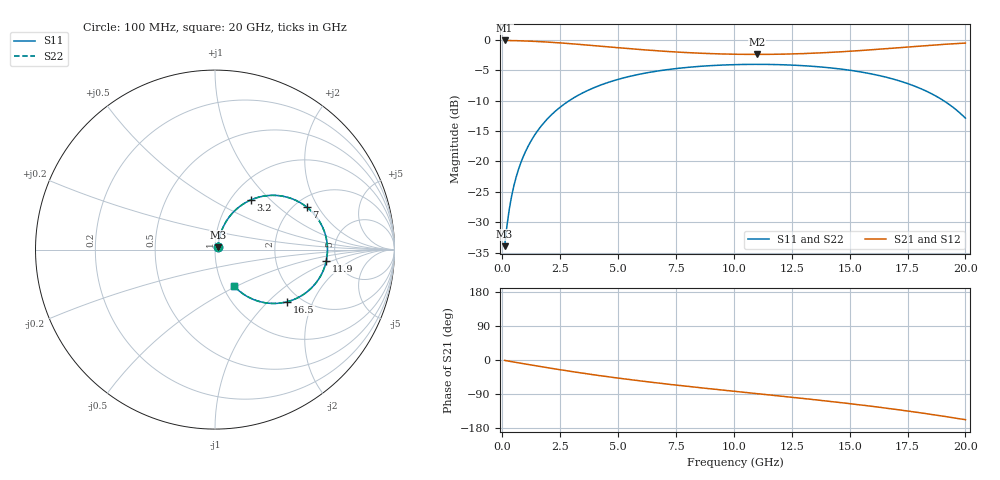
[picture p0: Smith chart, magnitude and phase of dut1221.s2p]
! Touchstone file exported from HFSS 2026.1.0
!  File:  C:/ffzhzh/LocalFiles/Ansys_Project_Files/temp_train_TSV_RDL_1221_1783321099_38704.aedt
!  Generated:  03:07:11 PM Jul  6, 2026
!  Design:  TSV_RDL
!  Project:  temp_train_TSV_RDL_1221_1783321099_38704
! Variables:
!  h_bsmrdl = 4.53um
!  h_ox = 20um
!  h_rdl = 5um
!  h_sub = 67.67um
!  h_tmrdl = 5.76um
!  h_tsv = 67.67um
!  h_via = 3um
!  l_bsmrdl = 494.15um
!  l_sub = 2709.7um
!  l_tmrdl = 189.18um
!  m_sub = 200um
!  pitch = 49.38um
!  r_tsv = 9.69um
!  s_tmrdl = 10um
!  w_bsmrdl = 10.3um
!  w_sub = 500um
!  w_tmrdl = 13.21um
!  x_tsv_center1 = 195.785um
!  x_tsv_center2 = 700.235um
!  x_tsv_center3 = 902.625um
!  x_tsv_center4 = 1407.075um
!  x_tsv_center5 = 1609.465um
!  x_tsv_center6 = 2113.915um
# GHz S MA R 50.000000
! Terminal data exported
! Port[1] = TM_RDL1_1_T1
! Port[2] = TM_RDL5_1_T1
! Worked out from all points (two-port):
!   200 points, 100 MHz to 20 GHz, reference 50 ohm
!   highest |S21| = -0.14 dB at 100 MHz (marker M1); lowest = -2.4 dB at 11 GHz (marker M2)
!   |S21| within 3 dB of the highest: start of sweep to end of sweep
!   lowest |S11| = -33.9 dB at 100 MHz (marker M3), VSWR 1.04, Z = 51.6 + j1.25 ohm
!   |S11| at or under -10 dB: start of sweep to 2.899 GHz; 19.05 GHz to end of sweep
!   |S22| runs from -33.9 to -4.1 dB; largest |S21 - S12| = 7.2e-14
!   S11 on the Smith chart (normalised r, x): 100 MHz: 1.03, +0.02; 3.2 GHz: 1.23, +0.78; 7 GHz: 2.30, +1.60; 11.9 GHz: 4.14, -0.83; 16.5 GHz: 1.70, -1.31; 20 GHz: 1.13, -0.48
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0.1  0.0202 36.8  0.984 -1.1  0.984 -1.1  0.0202 36.8
! Gamma 0 0 0 0
! Port Impedance 50 0 50 0
0.3  0.0404 62.7  0.9829 -3.3  0.9829 -3.3  0.0404 62.7
0.5  0.06318 68.9  0.9811 -5.4  0.9811 -5.4  0.06318 68.9
0.7  0.08615 70.6  0.9787 -7.5  0.9787 -7.5  0.08615 70.6
1  0.1203 70.6  0.9744 -10.6  0.9744 -10.6  0.1203 70.6
1.4  0.165 68.6  0.9672 -14.8  0.9672 -14.8  0.165 68.6
1.9  0.2187 65.0  0.9558 -19.8  0.9558 -19.8  0.2187 65.0
3.2  0.3427 54.0  0.9176 -32.3  0.9176 -32.3  0.3427 54.0
3.5  0.3677 51.5  0.9077 -35.0  0.9077 -35.0  0.3677 51.5
5  0.4717 39.4  0.858 -47.8  0.858 -47.8  0.4717 39.4
6.8  0.5559 26.3  0.807 -61.3  0.807 -61.3  0.5559 26.4
7  0.5629 25.0  0.8022 -62.7  0.8022 -62.7  0.5629 25.0
8.5  0.6028 15.2  0.7739 -72.8  0.7739 -72.8  0.6028 15.2
10.1  0.6237 5.3  0.7581 -83.1  0.7581 -83.1  0.6237 5.3
11  0.6266 -0.2  0.7559 -88.8  0.7559 -88.8  0.6266 -0.2
11.9  0.6234 -5.6  0.7584 -94.4  0.7584 -94.4  0.6234 -5.6
13.4  0.6038 -14.9  0.7731 -104.1  0.7731 -104.1  0.6038 -14.9
14.9  0.5643 -24.7  0.8 -114.4  0.8 -114.4  0.5643 -24.7
16.5  0.4956 -35.9  0.8403 -126.4  0.8403 -126.4  0.4956 -35.9
16.7  0.4848 -37.4  0.8459 -128.0  0.8459 -128.0  0.4848 -37.4
18.6  0.3547 -52.0  0.9013 -144.2  0.9013 -144.2  0.3547 -52.0
20  0.2267 -62.5  0.9361 -157.5  0.9361 -157.5  0.2267 -62.5
